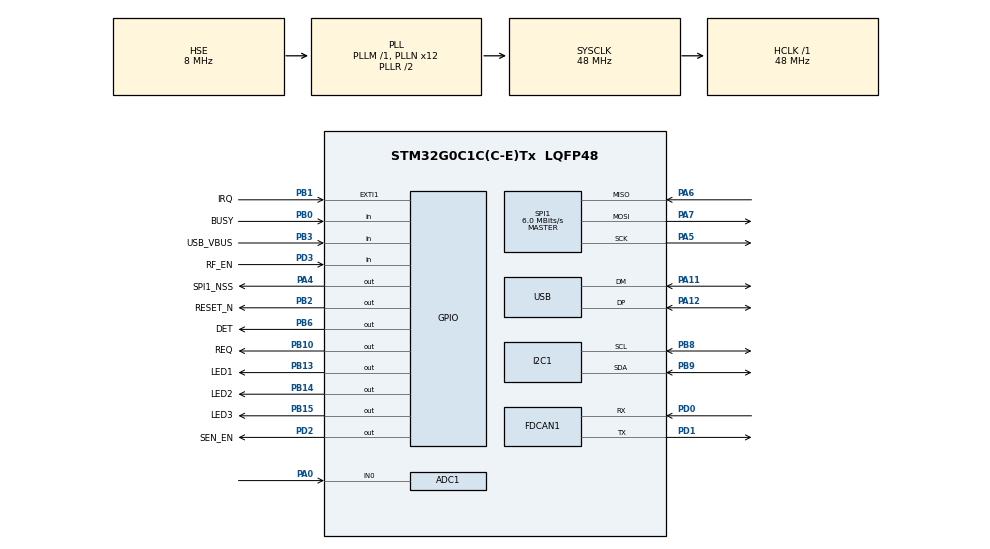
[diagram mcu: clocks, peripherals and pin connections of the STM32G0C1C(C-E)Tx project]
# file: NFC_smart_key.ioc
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ADC1.AWD1HighThreshold=3723
ADC1.AWD1ITMode=ENABLE
ADC1.Channel-0\#ChannelRegularConversion=ADC_CHANNEL_0
ADC1.EnableAnalogWatchDog1=true
ADC1.EnableAnalogWatchDog2=false
ADC1.NbrOfConversionFlag=1
ADC1.Rank-0\#ChannelRegularConversion=1
ADC1.SamplingTime-0\#ChannelRegularConversion=ADC_SAMPLINGTIME_COMMON_1
ADC1.SamplingTimeCommon1=ADC_SAMPLETIME_79CYCLES_5
ADC1.SamplingTimeCommon2=ADC_SAMPLETIME_1CYCLE_5
ADC1.SelectedChannel=ADC_CHANNEL_0
ADC1.master=1
FDCAN1.AutoRetransmission=ENABLE
FDCAN1.CalculateBaudRateNominal=1000000
FDCAN1.CalculateTimeBitNominal=1000
FDCAN1.CalculateTimeQuantumNominal=333.3333333333333
FDCAN1.Mode=FDCAN_MODE_NORMAL
I2C1.Timing=0x10805D88
Mcu.Family=STM32G0
Mcu.Name=STM32G0C1C(C-E)Tx
Mcu.Package=LQFP48
NVIC.ADC1_COMP_IRQn=true\:0\:0\:false\:false\:true\:true\:true\:true
NVIC.EXTI0_1_IRQn=true\:2\:0\:true\:false\:true\:true\:true\:true
NVIC.I2C1_IRQn=true\:0\:0\:false\:false\:true\:true\:true\:true
NVIC.SPI1_IRQn=true\:0\:0\:false\:false\:true\:true\:true\:true
NVIC.TIM16_FDCAN_IT0_IRQn=true\:1\:0\:true\:false\:true\:true\:true\:true
NVIC.TIM2_IRQn=true\:0\:0\:false\:false\:true\:true\:true\:true
PA0.Mode=IN0
PA0.Signal=ADC1_IN0
PA11\ [PA9].Mode=Device
PA11\ [PA9].Signal=USB_DM
PA12\ [PA10].Mode=Device
PA12\ [PA10].Signal=USB_DP
PA13.Mode=Serial_Wire
PA13.Signal=SYS_SWDIO
PA14-BOOT0.Mode=Serial_Wire
PA14-BOOT0.Signal=SYS_SWCLK
PA2.Signal=USART2_TX
PA3.Signal=USART2_RX
PA4.GPIO_Label=SPI1_NSS
PA4.GPIO_PuPd=GPIO_PULLUP
PA4.GPIO_Speed=GPIO_SPEED_FREQ_HIGH
PA4.PinState=GPIO_PIN_SET
PA4.Signal=GPIO_Output
PA5.GPIO_Speed=GPIO_SPEED_FREQ_HIGH
PA5.Mode=Full_Duplex_Master
PA5.Signal=SPI1_SCK
PA6.GPIO_Speed=GPIO_SPEED_FREQ_HIGH
PA6.Mode=Full_Duplex_Master
PA6.Signal=SPI1_MISO
PA7.GPIO_Speed=GPIO_SPEED_FREQ_HIGH
PA7.Mode=Full_Duplex_Master
PA7.Signal=SPI1_MOSI
PB0.GPIO_Label=BUSY
PB0.Signal=GPIO_Input
PB1.GPIO_Label=IRQ
PB1.GPIO_PuPd=GPIO_PULLDOWN
PB1.Signal=GPXTI1
PB10.GPIO_Label=REQ
PB10.GPIO_PuPd=GPIO_NOPULL
PB10.PinState=GPIO_PIN_RESET
PB10.Signal=GPIO_Output
PB13.GPIO_Label=LED1
PB13.PinState=GPIO_PIN_RESET
PB13.Signal=GPIO_Output
PB14.GPIO_Label=LED2
PB14.PinState=GPIO_PIN_RESET
PB14.Signal=GPIO_Output
PB15.GPIO_Label=LED3
PB15.GPIO_PuPd=GPIO_NOPULL
PB15.PinState=GPIO_PIN_RESET
PB15.Signal=GPIO_Output
PB2.GPIO_Label=RESET_N
PB2.GPIO_PuPd=GPIO_PULLUP
PB2.PinState=GPIO_PIN_SET
PB2.Signal=GPIO_Output
PB3.GPIO_Label=USB_VBUS
PB3.Signal=GPIO_Input
PB6.GPIO_Label=DET
PB6.GPIO_PuPd=GPIO_PULLDOWN
PB6.PinState=GPIO_PIN_RESET
PB6.Signal=GPIO_Output
PB8.Mode=I2C
PB8.Signal=I2C1_SCL
PB9.Mode=I2C
PB9.Signal=I2C1_SDA
PC14-OSC32_IN\ (PC14).Mode=LSE-External-Oscillator
PC14-OSC32_IN\ (PC14).Signal=RCC_OSC32_IN
PC15-OSC32_OUT\ (PC15).Mode=LSE-External-Oscillator
PC15-OSC32_OUT\ (PC15).Signal=RCC_OSC32_OUT
PD0.GPIO_Speed=GPIO_SPEED_FREQ_MEDIUM
PD0.Mode=FDCAN_Activate
PD0.Signal=FDCAN1_RX
PD1.GPIO_Speed=GPIO_SPEED_FREQ_MEDIUM
PD1.Mode=FDCAN_Activate
PD1.Signal=FDCAN1_TX
PD2.GPIO_Label=SEN_EN
PD2.PinState=GPIO_PIN_RESET
PD2.Signal=GPIO_Output
PD3.GPIO_Label=RF_EN
PD3.Signal=GPIO_Input
PF0-OSC_IN\ (PF0).Mode=HSE-External-Oscillator
PF0-OSC_IN\ (PF0).Signal=RCC_OSC_IN
PF1-OSC_OUT\ (PF1).Mode=HSE-External-Oscillator
PF1-OSC_OUT\ (PF1).Signal=RCC_OSC_OUT
ProjectManager.HeapSize=0x200
ProjectManager.StackSize=0x400
ProjectManager.TargetToolchain=CMake
RCC.ADCFreq_Value=48000000
RCC.AHBFreq_Value=48000000
RCC.CortexFreq_Value=48000000
RCC.EXTERNAL_CLOCK_VALUE=48000
RCC.HCLKFreq_Value=48000000
RCC.HSE_VALUE=8000000
RCC.HSI48_VALUE=48000000
RCC.HSISYSCLKDivider=RCC_HSI_DIV8
RCC.HSI_VALUE=16000000
RCC.I2C1CLockSelection=RCC_I2C1CLKSOURCE_SYSCLK
RCC.PLLN=12
RCC.PLLSourceVirtual=RCC_PLLSOURCE_HSE
RCC.RTCClockSelection=RCC_RTCCLKSOURCE_LSE
RCC.SYSCLKFreq_VALUE=48000000
RCC.SYSCLKSource=RCC_SYSCLKSOURCE_PLLCLK
RCC.USBCLockSelection=RCC_USBCLKSOURCE_PLL
RCC.USBFreq_Value=48000000
RCC.VCOOutputFreq_Value=96000000
SPI1.BaudRatePrescaler=SPI_BAUDRATEPRESCALER_8
SPI1.CalculateBaudRate=6.0 MBits/s
SPI1.DataSize=SPI_DATASIZE_8BIT
SPI1.Direction=SPI_DIRECTION_2LINES
SPI1.Mode=SPI_MODE_MASTER
SPI1.NSSPMode=SPI_NSS_PULSE_DISABLE
SPI1.VirtualType=VM_MASTER
TIM2.Prescaler=24
VP_RTC_VS_RTC_Activate.Mode=RTC_Enabled
VP_RTC_VS_RTC_Calendar.Mode=RTC_Calendar
VP_SYS_VS_DBSignals.Mode=DisableDeadBatterySignals
VP_TIM2_VS_ClockSourceINT.Mode=Internal
board=custom

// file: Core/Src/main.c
/* USER CODE BEGIN Header */
/**
  ******************************************************************************
  * @file           : main.c
  * @brief          : Main program body
  ******************************************************************************
  * @attention
  *
  * Copyright (c) 2026 STMicroelectronics.
  * All rights reserved.
  *
  * This software is licensed under terms that can be found in the LICENSE file
  * in the root directory of this software component.
  * If no LICENSE file comes with this software, it is provided AS-IS.
  *
  ******************************************************************************
  */
/* USER CODE END Header */
#include "main.h"
#include "ph_Status.h"
#include "ph_TypeDefs.h"
#include "phhalHw.h"
#include "stm32g0xx_hal.h"
#include "stm32g0xx_hal_gpio.h"

/* USER CODE BEGIN Includes */
#include "phCryptoRng.h"
#include "phCryptoSym.h"
#include "phKeyStore.h"
#include "phalMfc.h"
#include "phbalReg.h"
/* USER CODE END Includes */

/* USER CODE BEGIN PTD */
typedef enum
{
    MFC_SIZE_1K = 0,
    MFC_SIZE_4K
} mfc_size_t;

typedef enum
{
    CARD_TYPE_UNKNOWN = 0,
    CARD_TYPE_MIFARE_CLASSIC_1K,
    CARD_TYPE_MIFARE_CLASSIC_4K,
    CARD_TYPE_ISO14443_4A
} card_type_t;
/* USER CODE END PTD */

/* USER CODE BEGIN PD */
#define MFC_TEST_BLOCK_NO          4U
#define MFC_1K_KEY_COUNT           16U /* Number of sectors */
#define MFC_4K_KEY_COUNT           40U
/* NFCLib preloads this development-only entry with FF Key A and FF Key B. */
#define MFC_KEYSTORE_KEY_NO        1U
#define MFC_KEYSTORE_KEY_VERSION   0U
/* USER CODE END PD */

ADC_HandleTypeDef hadc1;

FDCAN_HandleTypeDef hfdcan1;

I2C_HandleTypeDef hi2c1;

RTC_HandleTypeDef hrtc;

SPI_HandleTypeDef hspi1;

TIM_HandleTypeDef htim2;

PCD_HandleTypeDef hpcd_USB_DRD_FS;

/* USER CODE BEGIN PV */
static phbalReg_Stm32Spi_DataParams_t bal_data;
static phhalHw_Pn5180_DataParams_t *hal_data;
static phacDiscLoop_Sw_DataParams_t *disloop_data;
static phKeyStore_Sw_DataParams_t *keystore_data;
static phCryptoSym_Sw_DataParams_t *crypto_data;
static phCryptoRng_Sw_DataParams_t *crypto_rng_data;
static phalMfc_Sw_DataParams_t *mfc_data;
static phStatus_t ph_status;
static uint8_t mfc_block_data[PHAL_MFC_DATA_BLOCK_LENGTH]; /* for testing purpose*/
/* USER CODE END PV */

void SystemClock_Config(void);
static void MX_GPIO_Init(void);
static void MX_ADC1_Init(void);
static void MX_FDCAN1_Init(void);
static void MX_I2C1_Init(void);
static void MX_RTC_Init(void);
static void MX_SPI1_Init(void);
static void MX_USB_DRD_FS_PCD_Init(void);
static void MX_TIM2_Init(void);

/* USER CODE BEGIN PFP */
static void LED_Flash(GPIO_TypeDef *LED_GPIO_Port, uint16_t LED_Pin)
{
  while (1)
  {
    HAL_GPIO_WritePin(LED_GPIO_Port, LED_Pin, GPIO_PIN_SET);
    HAL_Delay(90);
    HAL_GPIO_WritePin(LED_GPIO_Port, LED_Pin , GPIO_PIN_RESET);
    HAL_Delay(10);
  }
}

static phStatus_t LED_On(GPIO_TypeDef *LED_GPIO_Port, uint16_t LED_Pin)
{
  HAL_GPIO_WritePin(LED_GPIO_Port, LED_Pin, GPIO_PIN_SET);

  return PH_ERR_SUCCESS;
}

static card_type_t GetActivatedCardType(
    const phacDiscLoop_Sw_DataParams_t *pDiscLoop)
{
    uint8_t sak;

    if ((pDiscLoop == NULL) ||
        (pDiscLoop->sTypeATargetInfo.bTotalTagsFound == 0U))
    {
        return CARD_TYPE_UNKNOWN;
    }

    /* Only 1 card is activated, hence referring to index 0 */
    sak = pDiscLoop->sTypeATargetInfo.aTypeA_I3P3[0].aSak;

    switch (sak)
    {
        case 0x08U:
            return CARD_TYPE_MIFARE_CLASSIC_1K;

        case 0x18U:
            return CARD_TYPE_MIFARE_CLASSIC_4K;

        default:
            /* ISO/IEC 14443-4A includes DESFire and other ISO-DEP cards. */
            if ((sak & 0x20U) != 0U)
            {
                return CARD_TYPE_ISO14443_4A;
            }
            return CARD_TYPE_UNKNOWN;
    }
}

static phStatus_t HandleMifareClassic(
    phacDiscLoop_Sw_DataParams_t *pDiscLoop,
    mfc_size_t cardSize,
    uint16_t keyNo)
{
    phStatus_t status;
    uint16_t keyCount;

    const uint8_t *uid =
        pDiscLoop->sTypeATargetInfo.aTypeA_I3P3[0].aUid;

    uint8_t uidLength =
        pDiscLoop->sTypeATargetInfo.aTypeA_I3P3[0].bUidSize;

    switch (cardSize)
    {
        case MFC_SIZE_1K:
            keyCount = MFC_1K_KEY_COUNT;
            break;

        case MFC_SIZE_4K:
            keyCount = MFC_4K_KEY_COUNT;
            break;

        default:
            return PH_ADD_COMPCODE_FIXED(
                PH_ERR_INVALID_PARAMETER,
                PH_COMP_AL_MFC);
    }

    if (keyNo >= keyCount)
    {
        return PH_ADD_COMPCODE_FIXED(
            PH_ERR_INVALID_PARAMETER,
            PH_COMP_AL_MFC);
    }

    status = phalMfc_Authenticate(
        mfc_data,
        MFC_TEST_BLOCK_NO,    /* Card block to authenticate; this implicitly selects the sector */
        PHAL_MFC_KEYA,        /* Select card Key A or Key B */
        keyNo,                /* Reader-side KeyStore entry number */
        MFC_KEYSTORE_KEY_VERSION, /* Key version within the KeyStore entry */
        (uint8_t *)uid,
        uidLength);

    if ((status & PH_ERR_MASK) != PH_ERR_SUCCESS)
    {
        return status;
    }

    status = phalMfc_Read(
        mfc_data,
        MFC_TEST_BLOCK_NO,
        mfc_block_data);

    return status;
}

static phStatus_t HandleActivatedCard(phacDiscLoop_Sw_DataParams_t *pDiscLoop)
{
    card_type_t cardType = GetActivatedCardType(pDiscLoop);

    switch (cardType)
    {
        case CARD_TYPE_MIFARE_CLASSIC_1K:
            return HandleMifareClassic(
                pDiscLoop,
                MFC_SIZE_1K,
                MFC_KEYSTORE_KEY_NO);

        case CARD_TYPE_MIFARE_CLASSIC_4K:
            return HandleMifareClassic(
                pDiscLoop,
                MFC_SIZE_4K,
                MFC_KEYSTORE_KEY_NO);

        case CARD_TYPE_ISO14443_4A:
            /*
             * DESFire AL/HANDLE support remains disabled for Phase 1.
             * Do not dispatch ISO-DEP cards into an incomplete implementation.
             */
            return PH_ERR_UNSUPPORTED_COMMAND;

        case CARD_TYPE_UNKNOWN:
        default:
            return PH_ERR_UNSUPPORTED_PARAMETER;
    }
}

/* USER CODE END PFP */

int main(void)
{

  /* USER CODE BEGIN 1 */
  phNfcLib_AppContext_t nfcLibContext = {0};
  phStatus_t led_status;
  /* USER CODE END 1 */

  /* MCU Configuration--------------------------------------------------------*/

  /* Reset of all peripherals, Initializes the Flash interface and the Systick. */
  HAL_Init();

  /* Configure the system clock */
  SystemClock_Config();

  /* Initialize all configured peripherals */
  MX_GPIO_Init();
  MX_ADC1_Init();
  MX_FDCAN1_Init();
  MX_I2C1_Init();
  MX_RTC_Init();
  MX_SPI1_Init();
  MX_USB_DRD_FS_PCD_Init();
  MX_TIM2_Init();
  /* USER CODE BEGIN 2 */

  /* Initialize the STM32 SPI BAL before handing ownership to NFCLib. */
  ph_status = phbalReg_Init(&bal_data, sizeof(bal_data));
  if ((ph_status & PH_ERR_MASK) != PH_ERR_SUCCESS)
  {
    LED_Flash(LED1_GPIO_Port, LED1_Pin);
  }

  nfcLibContext.pBalDataparams = &bal_data;
  if (phNfcLib_SetContext(&nfcLibContext) != PH_NFCLIB_STATUS_SUCCESS)
  {
    LED_Flash(LED1_GPIO_Port, LED1_Pin);
  }

  if (phNfcLib_Init() != PH_NFCLIB_STATUS_SUCCESS)
  {
    LED_Flash(LED1_GPIO_Port, LED1_Pin);
  }

  hal_data = (phhalHw_Pn5180_DataParams_t *)phNfcLib_GetDataParams(PH_COMP_HAL);
  disloop_data = (phacDiscLoop_Sw_DataParams_t *)phNfcLib_GetDataParams(PH_COMP_AC_DISCLOOP);
  keystore_data = (phKeyStore_Sw_DataParams_t *)phNfcLib_GetDataParams(PH_COMP_KEYSTORE);
  crypto_data = (phCryptoSym_Sw_DataParams_t *)phNfcLib_GetDataParams(PH_COMP_CRYPTOSYM);
  crypto_rng_data = (phCryptoRng_Sw_DataParams_t *)phNfcLib_GetDataParams(PH_COMP_CRYPTORNG);
  mfc_data = (phalMfc_Sw_DataParams_t *)phNfcLib_GetDataParams(PH_COMP_AL_MFC);

  if ((hal_data == NULL) ||
      (disloop_data == NULL) ||
      (keystore_data == NULL) ||
      (crypto_data == NULL) ||
      (crypto_rng_data == NULL) ||
      (mfc_data == NULL))
  {
    LED_Flash(LED1_GPIO_Port, LED1_Pin);
  }

  ph_status = phacDiscLoop_SetConfig(
    disloop_data,
    PHAC_DISCLOOP_CONFIG_PAS_POLL_TECH_CFG,
    PHAC_DISCLOOP_POS_BIT_MASK_A
  );
  if ((ph_status & PH_ERR_MASK) != PH_ERR_SUCCESS)
  {
    LED_Flash(LED1_GPIO_Port, LED1_Pin);
  }
  /* USER CODE END 2 */

  /* Infinite loop */
  /* USER CODE BEGIN WHILE */
  while (1)
  {
    ph_status = phacDiscLoop_Run(disloop_data, PHAC_DISCLOOP_ENTRY_POINT_POLL);

    switch (ph_status & PH_ERR_MASK)
    {
    case PHAC_DISCLOOP_DEVICE_ACTIVATED:
        ph_status = HandleActivatedCard(disloop_data);
        break;

    case PHAC_DISCLOOP_NO_TECH_DETECTED:
        /* No card is present; continue polling. */
        ph_status = PH_ERR_SUCCESS;
        break;

    case PHAC_DISCLOOP_FAILURE:
        ph_status = phhalHw_FieldReset(hal_data);
        break;

    default:
        break;
    }

    if ((ph_status & PH_ERR_MASK) != PH_ERR_SUCCESS)
    {
      PH_CHECK_SUCCESS_FCT(led_status, LED_On(LED2_GPIO_Port, LED2_Pin));
    }
    /* USER CODE END WHILE */
  }
}

void SystemClock_Config(void)
{
  RCC_OscInitTypeDef RCC_OscInitStruct = {0};
  RCC_ClkInitTypeDef RCC_ClkInitStruct = {0};

  /** Configure the main internal regulator output voltage
  */
  HAL_PWREx_ControlVoltageScaling(PWR_REGULATOR_VOLTAGE_SCALE1);

  /** Configure LSE Drive Capability
  */
  HAL_PWR_EnableBkUpAccess();
  __HAL_RCC_LSEDRIVE_CONFIG(RCC_LSEDRIVE_LOW);

  /** Initializes the RCC Oscillators according to the specified parameters
  * in the RCC_OscInitTypeDef structure.
  */
  RCC_OscInitStruct.OscillatorType = RCC_OSCILLATORTYPE_HSE|RCC_OSCILLATORTYPE_LSE;
  RCC_OscInitStruct.HSEState = RCC_HSE_ON;
  RCC_OscInitStruct.LSEState = RCC_LSE_ON;
  RCC_OscInitStruct.PLL.PLLState = RCC_PLL_ON;
  RCC_OscInitStruct.PLL.PLLSource = RCC_PLLSOURCE_HSE;
  RCC_OscInitStruct.PLL.PLLM = RCC_PLLM_DIV1;
  RCC_OscInitStruct.PLL.PLLN = 12;
  RCC_OscInitStruct.PLL.PLLP = RCC_PLLP_DIV2;
  RCC_OscInitStruct.PLL.PLLQ = RCC_PLLQ_DIV2;
  RCC_OscInitStruct.PLL.PLLR = RCC_PLLR_DIV2;
  if (HAL_RCC_OscConfig(&RCC_OscInitStruct) != HAL_OK)
  {
    Error_Handler();
  }

  /** Initializes the CPU, AHB and APB buses clocks
  */
  RCC_ClkInitStruct.ClockType = RCC_CLOCKTYPE_HCLK|RCC_CLOCKTYPE_SYSCLK
                              |RCC_CLOCKTYPE_PCLK1;
  RCC_ClkInitStruct.SYSCLKSource = RCC_SYSCLKSOURCE_PLLCLK;
  RCC_ClkInitStruct.AHBCLKDivider = RCC_SYSCLK_DIV1;
  RCC_ClkInitStruct.APB1CLKDivider = RCC_HCLK_DIV1;

  if (HAL_RCC_ClockConfig(&RCC_ClkInitStruct, FLASH_LATENCY_1) != HAL_OK)
  {
    Error_Handler();
  }
}

static void MX_ADC1_Init(void)
{

  ADC_AnalogWDGConfTypeDef AnalogWDGConfig = {0};
  ADC_ChannelConfTypeDef sConfig = {0};

  /** Configure the global features of the ADC (Clock, Resolution, Data Alignment and number of conversion)
  */
  hadc1.Instance = ADC1;
  hadc1.Init.ClockPrescaler = ADC_CLOCK_SYNC_PCLK_DIV1;
  hadc1.Init.Resolution = ADC_RESOLUTION_12B;
  hadc1.Init.DataAlign = ADC_DATAALIGN_RIGHT;
  hadc1.Init.ScanConvMode = ADC_SCAN_DISABLE;
  hadc1.Init.EOCSelection = ADC_EOC_SINGLE_CONV;
  hadc1.Init.LowPowerAutoWait = DISABLE;
  hadc1.Init.LowPowerAutoPowerOff = DISABLE;
  hadc1.Init.ContinuousConvMode = DISABLE;
  hadc1.Init.NbrOfConversion = 1;
  hadc1.Init.DiscontinuousConvMode = DISABLE;
  hadc1.Init.ExternalTrigConv = ADC_SOFTWARE_START;
  hadc1.Init.ExternalTrigConvEdge = ADC_EXTERNALTRIGCONVEDGE_NONE;
  hadc1.Init.DMAContinuousRequests = DISABLE;
  hadc1.Init.Overrun = ADC_OVR_DATA_PRESERVED;
  hadc1.Init.SamplingTimeCommon1 = ADC_SAMPLETIME_79CYCLES_5;
  hadc1.Init.SamplingTimeCommon2 = ADC_SAMPLETIME_1CYCLE_5;
  hadc1.Init.OversamplingMode = DISABLE;
  hadc1.Init.TriggerFrequencyMode = ADC_TRIGGER_FREQ_HIGH;
  if (HAL_ADC_Init(&hadc1) != HAL_OK)
  {
    Error_Handler();
  }

  /** Configure Analog WatchDog 1
  */
  AnalogWDGConfig.WatchdogNumber = ADC_ANALOGWATCHDOG_1;
  AnalogWDGConfig.WatchdogMode = ADC_ANALOGWATCHDOG_SINGLE_REG;
  AnalogWDGConfig.Channel = ADC_CHANNEL_0;
  AnalogWDGConfig.ITMode = ENABLE;
  AnalogWDGConfig.HighThreshold = 3723;
  AnalogWDGConfig.LowThreshold = 0;
  if (HAL_ADC_AnalogWDGConfig(&hadc1, &AnalogWDGConfig) != HAL_OK)
  {
    Error_Handler();
  }

  /** Configure Regular Channel
  */
  sConfig.Channel = ADC_CHANNEL_0;
  sConfig.Rank = ADC_REGULAR_RANK_1;
  sConfig.SamplingTime = ADC_SAMPLINGTIME_COMMON_1;
  if (HAL_ADC_ConfigChannel(&hadc1, &sConfig) != HAL_OK)
  {
    Error_Handler();
  }

}

static void MX_FDCAN1_Init(void)
{

  hfdcan1.Instance = FDCAN1;
  hfdcan1.Init.ClockDivider = FDCAN_CLOCK_DIV1;
  hfdcan1.Init.FrameFormat = FDCAN_FRAME_CLASSIC;
  hfdcan1.Init.Mode = FDCAN_MODE_NORMAL;
  hfdcan1.Init.AutoRetransmission = ENABLE;
  hfdcan1.Init.TransmitPause = DISABLE;
  hfdcan1.Init.ProtocolException = DISABLE;
  hfdcan1.Init.NominalPrescaler = 16;
  hfdcan1.Init.NominalSyncJumpWidth = 1;
  hfdcan1.Init.NominalTimeSeg1 = 1;
  hfdcan1.Init.NominalTimeSeg2 = 1;
  hfdcan1.Init.DataPrescaler = 1;
  hfdcan1.Init.DataSyncJumpWidth = 1;
  hfdcan1.Init.DataTimeSeg1 = 1;
  hfdcan1.Init.DataTimeSeg2 = 1;
  hfdcan1.Init.StdFiltersNbr = 0;
  hfdcan1.Init.ExtFiltersNbr = 0;
  hfdcan1.Init.TxFifoQueueMode = FDCAN_TX_FIFO_OPERATION;
  if (HAL_FDCAN_Init(&hfdcan1) != HAL_OK)
  {
    Error_Handler();
  }

}

static void MX_I2C1_Init(void)
{

  hi2c1.Instance = I2C1;
  hi2c1.Init.Timing = 0x10805D88;
  hi2c1.Init.OwnAddress1 = 0;
  hi2c1.Init.AddressingMode = I2C_ADDRESSINGMODE_7BIT;
  hi2c1.Init.DualAddressMode = I2C_DUALADDRESS_DISABLE;
  hi2c1.Init.OwnAddress2 = 0;
  hi2c1.Init.OwnAddress2Masks = I2C_OA2_NOMASK;
  hi2c1.Init.GeneralCallMode = I2C_GENERALCALL_DISABLE;
  hi2c1.Init.NoStretchMode = I2C_NOSTRETCH_DISABLE;
  if (HAL_I2C_Init(&hi2c1) != HAL_OK)
  {
    Error_Handler();
  }

  /** Configure Analogue filter
  */
  if (HAL_I2CEx_ConfigAnalogFilter(&hi2c1, I2C_ANALOGFILTER_ENABLE) != HAL_OK)
  {
    Error_Handler();
  }

  /** Configure Digital filter
  */
  if (HAL_I2CEx_ConfigDigitalFilter(&hi2c1, 0) != HAL_OK)
  {
    Error_Handler();
  }

}

static void MX_RTC_Init(void)
{

  RTC_TimeTypeDef sTime = {0};
  RTC_DateTypeDef sDate = {0};

  /** Initialize RTC Only
  */
  hrtc.Instance = RTC;
  hrtc.Init.HourFormat = RTC_HOURFORMAT_24;
  hrtc.Init.AsynchPrediv = 127;
  hrtc.Init.SynchPrediv = 255;
  hrtc.Init.OutPut = RTC_OUTPUT_DISABLE;
  hrtc.Init.OutPutRemap = RTC_OUTPUT_REMAP_NONE;
  hrtc.Init.OutPutPolarity = RTC_OUTPUT_POLARITY_HIGH;
  hrtc.Init.OutPutType = RTC_OUTPUT_TYPE_OPENDRAIN;
  hrtc.Init.OutPutPullUp = RTC_OUTPUT_PULLUP_NONE;
  if (HAL_RTC_Init(&hrtc) != HAL_OK)
  {
    Error_Handler();
  }

  /** Initialize RTC and set the Time and Date
  */
  sTime.Hours = 0x0;
  sTime.Minutes = 0x0;
  sTime.Seconds = 0x0;
  sTime.SubSeconds = 0x0;
  sTime.DayLightSaving = RTC_DAYLIGHTSAVING_NONE;
  sTime.StoreOperation = RTC_STOREOPERATION_RESET;
  if (HAL_RTC_SetTime(&hrtc, &sTime, RTC_FORMAT_BCD) != HAL_OK)
  {
    Error_Handler();
  }
  sDate.WeekDay = RTC_WEEKDAY_MONDAY;
  sDate.Month = RTC_MONTH_JANUARY;
  sDate.Date = 0x1;
  sDate.Year = 0x0;

  if (HAL_RTC_SetDate(&hrtc, &sDate, RTC_FORMAT_BCD) != HAL_OK)
  {
    Error_Handler();
  }

}

static void MX_SPI1_Init(void)
{

  /* SPI1 parameter configuration*/
  hspi1.Instance = SPI1;
  hspi1.Init.Mode = SPI_MODE_MASTER;
  hspi1.Init.Direction = SPI_DIRECTION_2LINES;
  hspi1.Init.DataSize = SPI_DATASIZE_8BIT;
  hspi1.Init.CLKPolarity = SPI_POLARITY_LOW;
  hspi1.Init.CLKPhase = SPI_PHASE_1EDGE;
  hspi1.Init.NSS = SPI_NSS_SOFT;
  hspi1.Init.BaudRatePrescaler = SPI_BAUDRATEPRESCALER_8;
  hspi1.Init.FirstBit = SPI_FIRSTBIT_MSB;
  hspi1.Init.TIMode = SPI_TIMODE_DISABLE;
  hspi1.Init.CRCCalculation = SPI_CRCCALCULATION_DISABLE;
  hspi1.Init.CRCPolynomial = 7;
  hspi1.Init.CRCLength = SPI_CRC_LENGTH_DATASIZE;
  hspi1.Init.NSSPMode = SPI_NSS_PULSE_DISABLE;
  if (HAL_SPI_Init(&hspi1) != HAL_OK)
  {
    Error_Handler();
  }

}

static void MX_TIM2_Init(void)
{

  TIM_ClockConfigTypeDef sClockSourceConfig = {0};
  TIM_MasterConfigTypeDef sMasterConfig = {0};

  htim2.Instance = TIM2;
  htim2.Init.Prescaler = 24;
  htim2.Init.CounterMode = TIM_COUNTERMODE_UP;
  htim2.Init.Period = 4294967295;
  htim2.Init.ClockDivision = TIM_CLOCKDIVISION_DIV1;
  htim2.Init.AutoReloadPreload = TIM_AUTORELOAD_PRELOAD_DISABLE;
  if (HAL_TIM_Base_Init(&htim2) != HAL_OK)
  {
    Error_Handler();
  }
  sClockSourceConfig.ClockSource = TIM_CLOCKSOURCE_INTERNAL;
  if (HAL_TIM_ConfigClockSource(&htim2, &sClockSourceConfig) != HAL_OK)
  {
    Error_Handler();
  }
  sMasterConfig.MasterOutputTrigger = TIM_TRGO_RESET;
  sMasterConfig.MasterSlaveMode = TIM_MASTERSLAVEMODE_DISABLE;
  if (HAL_TIMEx_MasterConfigSynchronization(&htim2, &sMasterConfig) != HAL_OK)
  {
    Error_Handler();
  }

}

static void MX_USB_DRD_FS_PCD_Init(void)
{

  hpcd_USB_DRD_FS.Instance = USB_DRD_FS;
  hpcd_USB_DRD_FS.Init.dev_endpoints = 8;
  hpcd_USB_DRD_FS.Init.Host_channels = 8;
  hpcd_USB_DRD_FS.Init.speed = PCD_SPEED_FULL;
  hpcd_USB_DRD_FS.Init.phy_itface = PCD_PHY_EMBEDDED;
  hpcd_USB_DRD_FS.Init.Sof_enable = DISABLE;
  hpcd_USB_DRD_FS.Init.low_power_enable = DISABLE;
  hpcd_USB_DRD_FS.Init.lpm_enable = DISABLE;
  hpcd_USB_DRD_FS.Init.battery_charging_enable = DISABLE;
  hpcd_USB_DRD_FS.Init.vbus_sensing_enable = DISABLE;
  hpcd_USB_DRD_FS.Init.bulk_doublebuffer_enable = DISABLE;
  hpcd_USB_DRD_FS.Init.iso_singlebuffer_enable = DISABLE;
  if (HAL_PCD_Init(&hpcd_USB_DRD_FS) != HAL_OK)
  {
    Error_Handler();
  }

}

static void MX_GPIO_Init(void)
{
  GPIO_InitTypeDef GPIO_InitStruct = {0};

  /* GPIO Ports Clock Enable */
  __HAL_RCC_GPIOC_CLK_ENABLE();
  __HAL_RCC_GPIOF_CLK_ENABLE();
  __HAL_RCC_GPIOA_CLK_ENABLE();
  __HAL_RCC_GPIOB_CLK_ENABLE();
  __HAL_RCC_GPIOD_CLK_ENABLE();

  /*Configure GPIO pin Output Level */
  HAL_GPIO_WritePin(SPI1_NSS_GPIO_Port, SPI1_NSS_Pin, GPIO_PIN_SET);

  /*Configure GPIO pin Output Level */
  HAL_GPIO_WritePin(RESET_N_GPIO_Port, RESET_N_Pin, GPIO_PIN_SET);

  /*Configure GPIO pin Output Level */
  HAL_GPIO_WritePin(GPIOB, REQ_Pin|LED1_Pin|LED2_Pin|LED3_Pin
                          |DET_Pin, GPIO_PIN_RESET);

  /*Configure GPIO pin Output Level */
  HAL_GPIO_WritePin(SEN_EN_GPIO_Port, SEN_EN_Pin, GPIO_PIN_RESET);

  /*Configure GPIO pins : PA2 PA3 */
  GPIO_InitStruct.Pin = GPIO_PIN_2|GPIO_PIN_3;
  GPIO_InitStruct.Mode = GPIO_MODE_AF_PP;
  GPIO_InitStruct.Pull = GPIO_NOPULL;
  GPIO_InitStruct.Speed = GPIO_SPEED_FREQ_LOW;
  GPIO_InitStruct.Alternate = GPIO_AF1_USART2;
  HAL_GPIO_Init(GPIOA, &GPIO_InitStruct);

  /*Configure GPIO pin : SPI1_NSS_Pin */
  GPIO_InitStruct.Pin = SPI1_NSS_Pin;
  GPIO_InitStruct.Mode = GPIO_MODE_OUTPUT_PP;
  GPIO_InitStruct.Pull = GPIO_PULLUP;
  GPIO_InitStruct.Speed = GPIO_SPEED_FREQ_HIGH;
  HAL_GPIO_Init(SPI1_NSS_GPIO_Port, &GPIO_InitStruct);

  /*Configure GPIO pins : BUSY_Pin USB_VBUS_Pin */
  GPIO_InitStruct.Pin = BUSY_Pin|USB_VBUS_Pin;
  GPIO_InitStruct.Mode = GPIO_MODE_INPUT;
  GPIO_InitStruct.Pull = GPIO_NOPULL;
  HAL_GPIO_Init(GPIOB, &GPIO_InitStruct);

  /*Configure GPIO pin : IRQ_Pin */
  GPIO_InitStruct.Pin = IRQ_Pin;
  GPIO_InitStruct.Mode = GPIO_MODE_IT_RISING;
  GPIO_InitStruct.Pull = GPIO_PULLDOWN;
  HAL_GPIO_Init(IRQ_GPIO_Port, &GPIO_InitStruct);

  /*Configure GPIO pin : RESET_N_Pin */
  GPIO_InitStruct.Pin = RESET_N_Pin;
  GPIO_InitStruct.Mode = GPIO_MODE_OUTPUT_PP;
  GPIO_InitStruct.Pull = GPIO_PULLUP;
  GPIO_InitStruct.Speed = GPIO_SPEED_FREQ_LOW;
  HAL_GPIO_Init(RESET_N_GPIO_Port, &GPIO_InitStruct);

  /*Configure GPIO pins : REQ_Pin LED1_Pin LED2_Pin LED3_Pin */
  GPIO_InitStruct.Pin = REQ_Pin|LED1_Pin|LED2_Pin|LED3_Pin;
  GPIO_InitStruct.Mode = GPIO_MODE_OUTPUT_PP;
  GPIO_InitStruct.Pull = GPIO_NOPULL;
  GPIO_InitStruct.Speed = GPIO_SPEED_FREQ_LOW;
  HAL_GPIO_Init(GPIOB, &GPIO_InitStruct);

  /*Configure GPIO pin : SEN_EN_Pin */
  GPIO_InitStruct.Pin = SEN_EN_Pin;
  GPIO_InitStruct.Mode = GPIO_MODE_OUTPUT_PP;
  GPIO_InitStruct.Pull = GPIO_NOPULL;
  GPIO_InitStruct.Speed = GPIO_SPEED_FREQ_LOW;
  HAL_GPIO_Init(SEN_EN_GPIO_Port, &GPIO_InitStruct);

  /*Configure GPIO pin : RF_EN_Pin */
  GPIO_InitStruct.Pin = RF_EN_Pin;
  GPIO_InitStruct.Mode = GPIO_MODE_INPUT;
  GPIO_InitStruct.Pull = GPIO_NOPULL;
  HAL_GPIO_Init(RF_EN_GPIO_Port, &GPIO_InitStruct);

  /*Configure GPIO pin : DET_Pin */
  GPIO_InitStruct.Pin = DET_Pin;
  GPIO_InitStruct.Mode = GPIO_MODE_OUTPUT_PP;
  GPIO_InitStruct.Pull = GPIO_PULLDOWN;
  GPIO_InitStruct.Speed = GPIO_SPEED_FREQ_LOW;
  HAL_GPIO_Init(DET_GPIO_Port, &GPIO_InitStruct);

  /* EXTI interrupt init*/
  HAL_NVIC_SetPriority(EXTI0_1_IRQn, 2, 0);
  HAL_NVIC_EnableIRQ(EXTI0_1_IRQn);

}

/* USER CODE BEGIN 4 */

void HAL_GPIO_EXTI_Rising_Callback(uint16_t GPIO_Pin)
{
  if ((GPIO_Pin == IRQ_Pin) &&
      (hal_data != NULL) &&
      (hal_data->pRFISRCallback != NULL))
  {
    hal_data->pRFISRCallback(hal_data);
  }
}

/* USER CODE END 4 */

void Error_Handler(void)
{
  __disable_irq();
  while (1)
  {
  }
}
